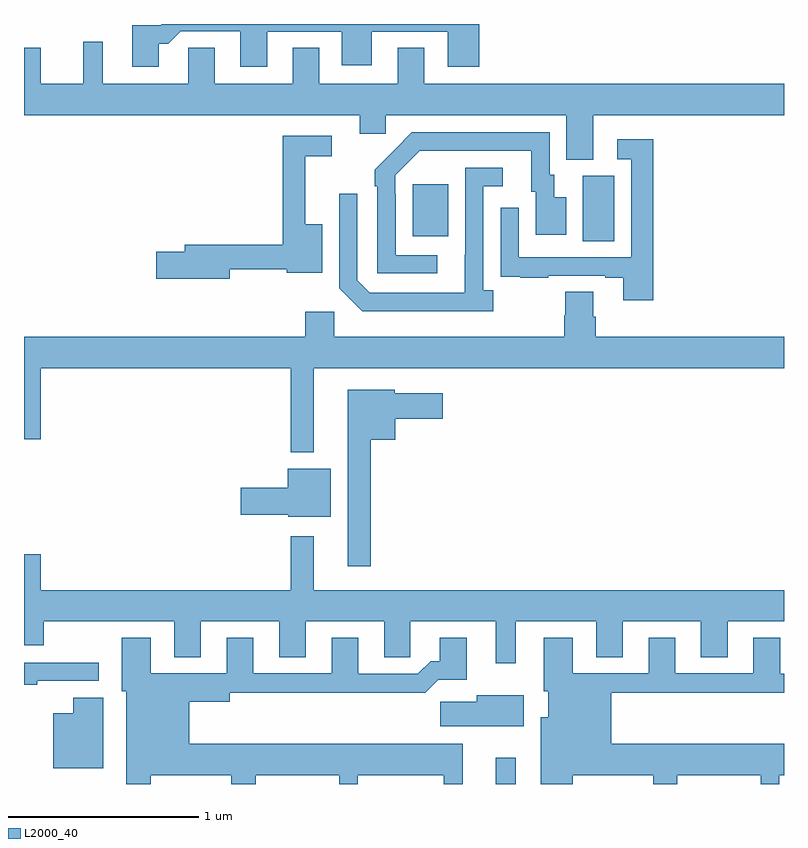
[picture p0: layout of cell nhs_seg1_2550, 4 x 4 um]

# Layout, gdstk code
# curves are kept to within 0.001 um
import gdstk
lib = gdstk.Library(unit=1e-6, precision=1e-09)
def R(c, l, rs):  # rectangles x0, y0, x1, y1
    for r in rs: c.add(gdstk.rectangle(r[:2], r[2:], *l))
def P(c, l, *ps):  # polygons
    for p in ps: c.add(gdstk.Polygon(p, *l))
L2000_40 = (2000, 40)

nhs_seg1_2550 = lib.new_cell('nhs_seg1_2550')
R(nhs_seg1_2550, L2000_40, [(251.483,560.199,251.587,560.338), (251.942,563.056,252.106,563.4), (251.045,563.081,251.233,563.356), (249,564.198,249.377,564.199)])
P(nhs_seg1_2550, L2000_40, [(249.709,564.095),(249.758,564.095),(249.825,564.162),(250.139,564.162),(250.139,563.973),(250.279,563.973),(250.279,564.159),(250.673,564.159),(250.673,563.981),(250.831,563.981),(250.831,564.159),(251.231,564.159),(251.231,563.973),(251.396,563.973),(251.396,564.199),(249.724,564.199),(249.718,564.193),(249.569,564.193),(249.569,563.973),(249.709,563.973)],
  [(251.995,563.72),(253,563.72),(253,563.884),(251.107,563.884),(251.107,564.074),(250.967,564.074),(250.967,563.884),(250.555,563.884),(250.555,564.074),(250.415,564.074),(250.415,563.884),(250.003,563.884),(250.003,564.074),(249.864,564.074),(249.864,563.884),(249.415,563.884),(249.415,564.106),(249.311,564.106),(249.311,563.884),(249.088,563.884),(249.088,564.073),(249,564.073),(249,563.72),(250.766,563.72),(250.766,563.622),(250.905,563.622),(250.905,563.72),(251.855,563.72),(251.855,563.485),(251.995,563.485)],
  [(251.176,562.983),(250.956,562.983),(250.956,563.303),(250.953,563.303),(250.953,563.403),(251.082,563.532),(251.669,563.532),(251.669,563.316),(251.693,563.316),(251.693,563.091),(251.854,563.091),(251.854,563.287),(251.791,563.287),(251.791,563.406),(251.766,563.406),(251.766,563.628),(251.042,563.628),(250.845,563.433),(250.845,563.345),(250.86,563.345),(250.86,562.887),(251.176,562.887)],
  [(250.084,562.908),(250.382,562.908),(250.382,562.889),(250.57,562.889),(250.57,563.146),(250.481,563.146),(250.481,563.502),(250.621,563.502),(250.621,563.61),(250.363,563.61),(250.363,563.036),(249.845,563.036),(249.845,563),(249.696,563),(249.696,562.858),(250.084,562.858)],
  [(252.311,563.593),(252.123,563.593),(252.123,563.487),(252.195,563.487),(252.195,562.971),(251.604,562.971),(251.604,563.233),(251.508,563.233),(251.508,562.978),(251.509,562.978),(251.509,562.869),(251.611,562.869),(251.611,562.863),(251.759,562.863),(251.759,562.875),(252.059,562.875),(252.059,562.863),(252.155,562.863),(252.155,562.746),(252.311,562.746)],
  [(251.47,562.798),(251.418,562.798),(251.418,563.346),(251.521,563.346),(251.521,563.442),(251.322,563.442),(251.321,562.785),(250.821,562.785),(250.755,562.851),(250.755,563.305),(250.659,563.305),(250.659,562.809),(250.78,562.688),(251.47,562.688)],
  [(250.481,562.552),(249,562.552),(249,562.014),(249.088,562.014),(249.088,562.388),(250.404,562.388),(250.404,561.944),(250.525,561.944),(250.525,562.388),(253,562.388),(253,562.552),(252.008,562.552),(252.008,562.658),(251.995,562.658),(251.995,562.79),(251.848,562.79),(251.848,562.665),(251.843,562.665),(251.843,562.552),(250.632,562.552),(250.632,562.684),(250.481,562.684)],
  [(250.825,562.01),(250.954,562.01),(250.954,562.121),(251.203,562.121),(251.203,562.255),(250.95,562.255),(250.95,562.273),(250.703,562.273),(250.703,561.345),(250.825,561.345)],
  [(250.615,561.859),(250.388,561.859),(250.388,561.758),(250.14,561.758),(250.14,561.616),(250.392,561.616),(250.392,561.605),(250.615,561.605)],
  [(251.587,561.056),(252.011,561.056),(252.011,560.866),(252.151,560.866),(252.151,561.056),(252.563,561.056),(252.563,560.866),(252.703,560.866),(252.703,561.056),(253,561.056),(253,561.22),(250.525,561.22),(250.525,561.502),(250.404,561.502),(250.404,561.22),(249.088,561.22),(249.088,561.409),(249,561.409),(249,560.928),(249.103,560.928),(249.103,561.056),(249.791,561.056),(249.791,560.867),(249.931,560.867),(249.931,561.056),(250.343,561.056),(250.343,560.866),(250.483,560.866),(250.483,561.056),(250.895,561.056),(250.895,560.866),(251.034,560.866),(251.034,561.056),(251.483,561.056),(251.483,560.835),(251.587,560.835)],
  [(249.667,560.246),(250.091,560.246),(250.091,560.199),(250.219,560.199),(250.219,560.246),(250.658,560.246),(250.658,560.199),(250.756,560.199),(250.756,560.246),(251.21,560.246),(251.21,560.199),(251.308,560.199),(251.308,560.41),(249.871,560.41),(249.871,560.633),(250.084,560.633),(250.084,560.68),(250.855,560.68),(250.855,560.678),(251.111,560.678),(251.18,560.747),(251.329,560.747),(251.329,560.968),(251.189,560.968),(251.189,560.845),(251.14,560.845),(251.073,560.778),(250.759,560.778),(250.759,560.968),(250.619,560.968),(250.619,560.781),(250.207,560.781),(250.207,560.968),(250.067,560.968),(250.067,560.782),(249.667,560.782),(249.667,560.968),(249.515,560.968),(249.515,560.688),(249.539,560.688),(249.539,560.199),(249.667,560.199)],
  [(251.887,560.246),(252.311,560.246),(252.311,560.199),(252.439,560.199),(252.439,560.246),(252.878,560.246),(252.878,560.199),(252.976,560.199),(252.976,560.246),(253,560.246),(253,560.41),(252.091,560.41),(252.091,560.68),(253,560.68),(253,560.778),(252.979,560.778),(252.979,560.968),(252.839,560.968),(252.839,560.781),(252.427,560.781),(252.427,560.968),(252.287,560.968),(252.287,560.781),(251.887,560.781),(251.887,560.968),(251.735,560.968),(251.735,560.688),(251.759,560.688),(251.759,560.551),(251.72,560.551),(251.72,560.199),(251.887,560.199)],
  [(249.07,560.742),(249.394,560.742),(249.394,560.838),(249,560.838),(249,560.722),(249.07,560.722)],
  [(251.629,560.665),(251.384,560.665),(251.384,560.633),(251.19,560.633),(251.19,560.504),(251.629,560.504)],
  [(249.418,560.653),(249.26,560.653),(249.26,560.572),(249.155,560.572),(249.155,560.282),(249.418,560.282)])

lib.write_gds('nhs_seg1_2550.gds')
